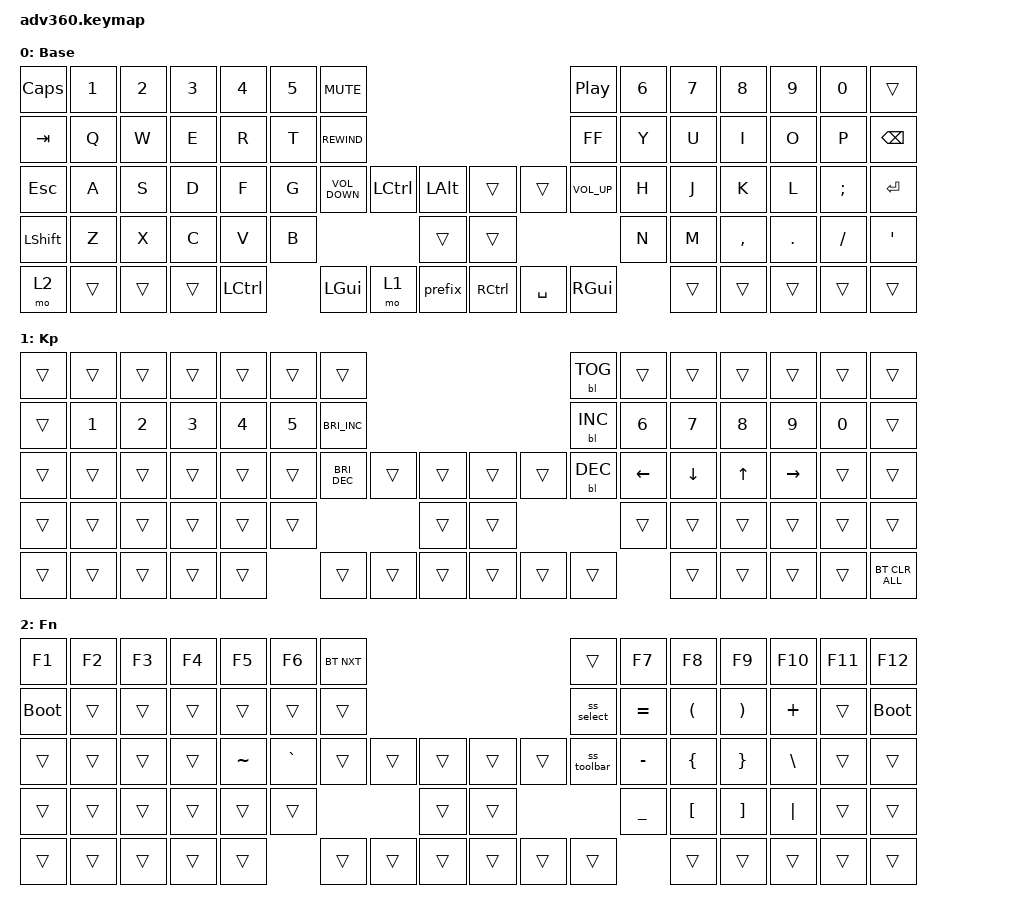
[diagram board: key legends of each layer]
#include <dt-bindings/zmk/stp.h>
#include <behaviors.dtsi>
#include <dt-bindings/zmk/backlight.h>
#include <dt-bindings/zmk/bt.h>
#include <dt-bindings/zmk/keys.h>

/ {
    behaviors {
        #include "macros.dtsi"
      #include "version.dtsi"

        hm: homerow_mods {
            compatible = "zmk,behavior-hold-tap";
            label = "HOMEROW_MODS";
            #binding-cells = <2>;
            tapping-term-ms = <200>;
            quick_tap_ms = <175>;
            flavor = "tap-preferred";
            bindings = <&kp>, <&kp>;
        };
    };

    macros {
        ss_select: ss_select {
            compatible = "zmk,behavior-macro";
            label = "SS_SELECT";
            #binding-cells = <0>;

            // ⌘ + ⇧ + 4  (selection)

            bindings = <&kp LG(LS(N4))>;
        };

        prefix: prefix {
            compatible = "zmk,behavior-macro";
            label = "PREFIX";
            #binding-cells = <0>;

            // ⌃ + b  (tmux prefix)

            bindings = <&kp LC(B)>;
        };

        ss_toolbar: ss_toolbar {
            compatible = "zmk,behavior-macro";
            label = "SS_TOOLBAR";
            #binding-cells = <0>;

            // ⌘ + ⇧ + 5  (toolbar)

            bindings = <&kp LG(LS(N5))>;
        };
    };

    keymap {
        compatible = "zmk,keymap";

        default_layer {
            display-name = "Base";
            bindings = <
&kp CAPS   &kp N1  &kp N2  &kp N3  &kp N4            &kp N5  &kp K_MUTE                                                                &kp C_PP         &kp N6  &kp N7  &kp N8     &kp N9   &kp N0    &trans
&kp TAB    &kp Q   &kp W   &kp E   &kp R             &kp T   &kp C_REWIND                                                              &kp C_FF         &kp Y   &kp U   &kp I      &kp O    &kp P     &kp BACKSPACE
&kp ESC    &kp A   &kp S   &kp D   &kp F             &kp G   &kp C_VOLUME_DOWN  &kp LCTRL  &kp LALT      &trans             &trans     &kp C_VOLUME_UP  &kp H   &kp J   &kp K      &kp L    &kp SEMI  &kp ENTER
&kp LSHFT  &kp Z   &kp X   &kp C   &kp V             &kp B                                 &trans        &trans                                         &kp N   &kp M   &kp COMMA  &kp DOT  &kp FSLH  &kp SQT
&mo 2      &trans  &trans  &trans  &kp LEFT_CONTROL          &kp LGUI           &mo 1      &prefix       &kp RIGHT_CONTROL  &kp SPACE  &kp RIGHT_GUI            &trans  &trans     &trans   &trans    &trans
            >;
        };

        keypad {
            display-name = "Kp";
            bindings = <
&trans  &trans        &trans        &trans        &trans        &trans        &trans                                             &bl BL_TOG  &trans          &trans          &trans        &trans           &trans        &trans
&trans  &kp NUMBER_1  &kp NUMBER_2  &kp NUMBER_3  &kp NUMBER_4  &kp NUMBER_5  &kp C_BRI_INC                                      &bl BL_INC  &kp NUMBER_6    &kp NUMBER_7    &kp NUMBER_8  &kp NUMBER_9     &kp NUMBER_0  &trans
&trans  &trans        &trans        &trans        &trans        &trans        &kp C_BRI_DEC  &trans  &trans      &trans  &trans  &bl BL_DEC  &kp LEFT_ARROW  &kp DOWN_ARROW  &kp UP_ARROW  &kp RIGHT_ARROW  &trans        &trans
&trans  &trans        &trans        &trans        &trans        &trans                               &trans      &trans                      &trans          &trans          &trans        &trans           &trans        &trans
&trans  &trans        &trans        &trans        &trans                      &trans         &trans  &trans      &trans  &trans  &trans                      &trans          &trans        &trans           &trans        &bt BT_CLR_ALL
            >;
        };

        fn {
            display-name = "Fn";
            bindings = <
&kp F1       &kp F2  &kp F3  &kp F4  &kp F5     &kp F6     &bt BT_NXT                                      &trans       &kp F7          &kp F8                &kp F9                 &kp F10        &kp F11  &kp F12
&bootloader  &trans  &trans  &trans  &trans     &trans     &trans                                          &ss_select   &kp EQUAL       &kp LEFT_PARENTHESIS  &kp RIGHT_PARENTHESIS  &kp PLUS       &trans   &bootloader
&trans       &trans  &trans  &trans  &kp TILDE  &kp GRAVE  &trans      &trans  &trans      &trans  &trans  &ss_toolbar  &kp MINUS       &kp LEFT_BRACE        &kp RIGHT_BRACE        &kp BACKSLASH  &trans   &trans
&trans       &trans  &trans  &trans  &trans     &trans                         &trans      &trans                       &kp UNDERSCORE  &kp LEFT_BRACKET      &kp RIGHT_BRACKET      &kp PIPE       &trans   &trans
&trans       &trans  &trans  &trans  &trans                &trans      &trans  &trans      &trans  &trans  &trans                       &trans                &trans                 &trans         &trans   &trans
            >;
        };
    };
};
